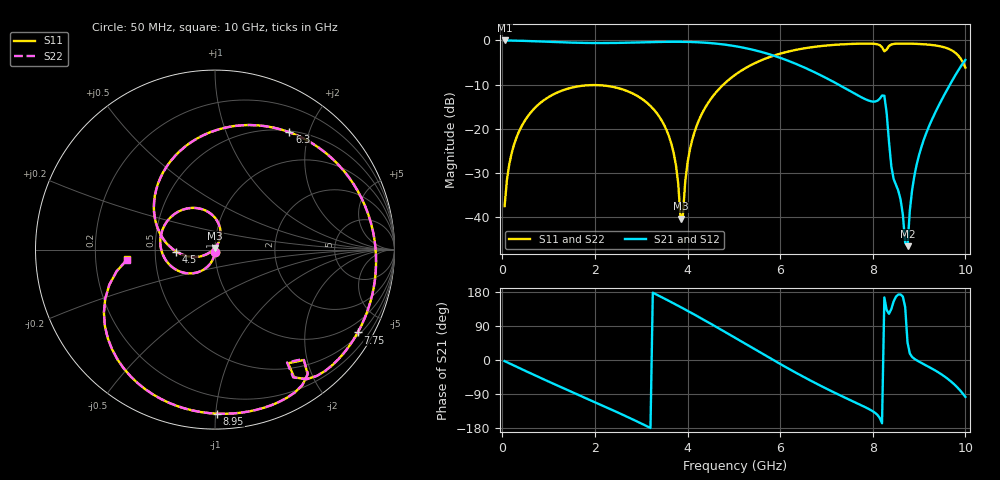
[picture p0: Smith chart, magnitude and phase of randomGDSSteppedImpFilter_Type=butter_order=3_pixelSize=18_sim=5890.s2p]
! freq	dB(S11)	phase(S11)	dB(S12)	phase(S12)
!  dB(S21)	phase(S21)	dB(S22)	phase(S22)
!S-par simulation data
#  GHz  S  DB  R 50
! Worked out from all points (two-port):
!   200 points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, 50 MHz to 10 GHz, reference 50 ohm
!   highest |S21| = -0.01 dB at 50 MHz (marker M1); lowest = -46.5 dB at 8.75 GHz (marker M2)
!   |S21| within 3 dB of the highest: start of sweep to 5.728 GHz
!   lowest |S11| = -40.4 dB at 3.85 GHz (marker M3), VSWR 1.02, Z = 50 + j0.96 ohm
!   |S11| at or under -10 dB: start of sweep to 4.773 GHz
!   |S22| runs from -39.6 to -0.7 dB; largest |S21 - S12| = 0
!   S11 on the Smith chart (normalised r, x): 50 MHz: 1.00, -0.03; 4.5 GHz: 0.64, -0.02; 6.3 GHz: 0.52, +1.70; 7.75 GHz: 0.60, -3.62; 8.95 GHz: 0.09, -1.01; 10 GHz: 0.34, -0.05
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0.05  -37.48 -92.0  -0.01 -2.9  -0.01 -2.9  -37.48 -92.0
0.2  -25.59 -101.6  -0.03 -11.6  -0.03 -11.6  -25.59 -101.6
0.5  -17.94 -119.2  -0.11 -28.8  -0.11 -28.8  -17.94 -119.2
1.75  -10.23 171.6  -0.56 -97.8  -0.56 -97.8  -10.23 171.7
2.7  -11.46 119.7  -0.52 -150.1  -0.52 -150.1  -11.46 119.8
3.4  -17.40 79.4  -0.34 168.4  -0.34 168.4  -17.39 79.9
3.7  -25.44 64.3  -0.30 149.4  -0.30 149.4  -25.42 65.6
3.85  -40.36 88.2  -0.31 139.7  -0.31 139.7  -39.63 93.7
4.1  -22.53 -152.6  -0.36 123.1  -0.36 123.1  -22.51 -153.7
4.5  -13.29 -177.0  -0.60 95.8  -0.60 95.8  -13.29 -177.4
5.05  -7.61 145.0  -1.34 56.9  -1.34 56.9  -7.61 144.8
5.65  -4.24 102.5  -2.77 14.2  -2.77 14.2  -4.24 102.4
6.3  -2.22 57.7  -5.13 -30.9  -5.13 -30.9  -2.22 57.6
6.7  -1.50 31.6  -6.98 -57.1  -6.98 -57.1  -1.50 31.5
7.75  -0.73 -30.1  -12.84 -119.4  -12.84 -119.4  -0.73 -30.2
8.25  -2.47 -57.3  -12.50 165.1  -12.50 165.1  -2.55 -57.5
8.35  -1.25 -53.4  -22.90 121.9  -22.90 121.9  -1.27 -53.2
8.75  -0.71 -78.3  -46.55 46.4  -46.55 46.4  -0.71 -78.3
8.85  -0.74 -83.8  -33.80 8.0  -33.80 8.0  -0.74 -83.7
8.95  -0.78 -89.3  -27.99 -1.0  -27.99 -1.0  -0.78 -89.3
9.7  -2.21 -140.4  -9.38 -57.7  -9.38 -57.7  -2.21 -140.4
10  -6.15 -173.6  -4.41 -97.5  -4.41 -97.5  -6.14 -173.5
